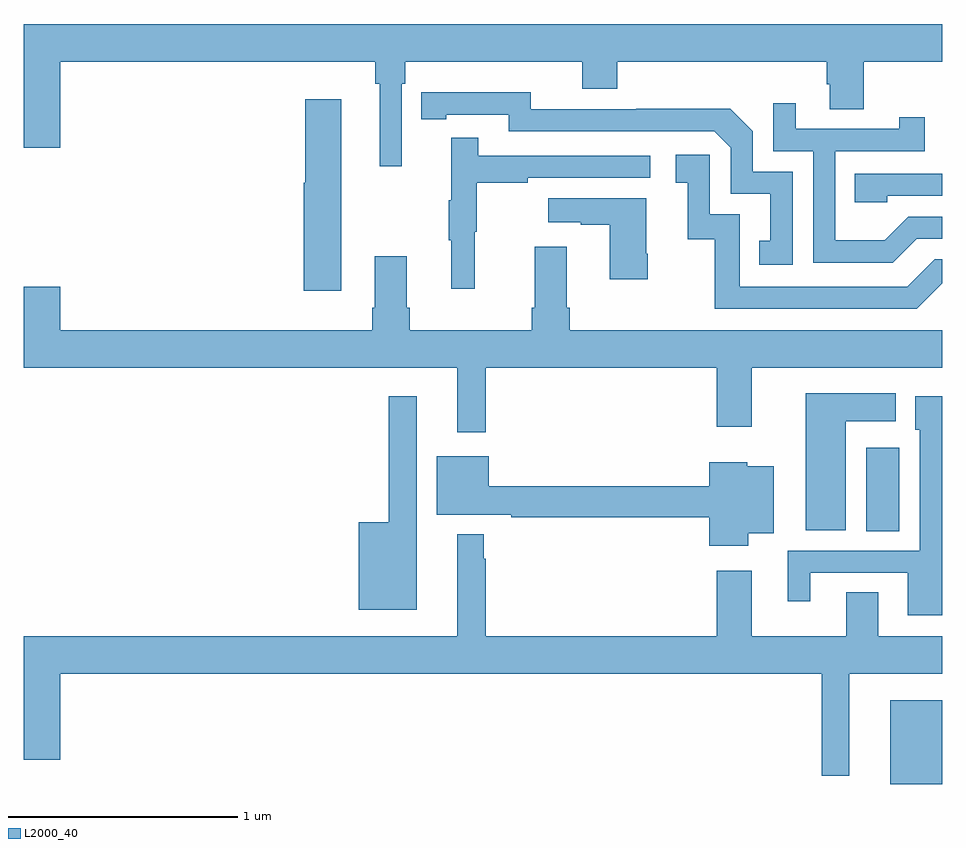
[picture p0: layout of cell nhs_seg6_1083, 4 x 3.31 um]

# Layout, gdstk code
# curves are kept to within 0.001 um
import gdstk
lib = gdstk.Library(unit=1e-6, precision=1e-09)
def R(c, l, rs):  # rectangles x0, y0, x1, y1
    for r in rs: c.add(gdstk.rectangle(r[:2], r[2:], *l))
def P(c, l, *ps):  # polygons
    for p in ps: c.add(gdstk.Polygon(p, *l))
L2000_40 = (2000, 40)

nhs_seg6_1083 = lib.new_cell('nhs_seg6_1083')
R(nhs_seg6_1083, L2000_40, [(180.773,969.5,181,969.865), (180.668,970.6,180.811,970.963)])
P(nhs_seg6_1083, L2000_40, [(177,972.27),(177.16,972.27),(177.16,972.644),(178.531,972.644),(178.531,972.548),(178.55,972.548),(178.55,972.189),(178.647,972.189),(178.647,972.548),(178.661,972.548),(178.661,972.644),(179.432,972.644),(179.432,972.527),(179.585,972.527),(179.585,972.644),(180.497,972.644),(180.497,972.546),(180.509,972.546),(180.509,972.436),(180.657,972.436),(180.657,972.644),(181,972.644),(181,972.808),(177,972.808)],
  [(180.348,972.165),(180.174,972.165),(180.174,972.342),(180.076,972.44),(179.668,972.44),(179.668,972.438),(179.208,972.438),(179.208,972.511),(178.732,972.51),(178.732,972.394),(178.84,972.394),(178.84,972.414),(179.112,972.414),(179.112,972.342),(180.006,972.342),(180.078,972.27),(180.078,972.069),(180.251,972.069),(180.251,971.865),(180.202,971.865),(180.202,971.76),(180.348,971.76)],
  [(178.384,972.481),(178.226,972.481),(178.226,972.117),(178.22,972.117),(178.22,971.646),(178.384,971.646)],
  [(180.889,971.874),(181,971.874),(181,971.97),(180.852,971.97),(180.748,971.866),(180.534,971.866),(180.534,972.255),(180.923,972.255),(180.923,972.403),(180.812,972.403),(180.812,972.351),(180.361,972.351),(180.361,972.463),(180.264,972.463),(180.264,972.255),(180.438,972.255),(180.438,971.769),(180.784,971.769)],
  [(178.964,971.904),(178.972,971.904),(178.972,972.118),(179.195,972.118),(179.195,972.138),(179.728,972.138),(179.728,972.234),(178.979,972.234),(178.979,972.313),(178.862,972.313),(178.862,972.041),(178.851,972.041),(178.851,971.867),(178.862,971.867),(178.862,971.655),(178.964,971.655)],
  [(181,971.68),(181,971.784),(180.966,971.784),(180.846,971.664),(180.117,971.664),(180.117,971.979),(179.988,971.979),(179.988,972.238),(179.838,972.238),(179.838,972.117),(179.891,972.117),(179.891,971.871),(180.009,971.871),(180.009,971.568),(180.888,971.568)],
  [(180.759,972.06),(181,972.06),(181,972.156),(180.619,972.156),(180.619,972.033),(180.759,972.033)],
  [(179.718,971.809),(179.71,971.809),(179.71,972.049),(179.283,972.049),(179.283,971.945),(179.426,971.945),(179.426,971.935),(179.552,971.935),(179.552,971.697),(179.718,971.697)],
  [(179.011,971.312),(180.017,971.312),(180.017,971.055),(180.169,971.055),(180.169,971.312),(181,971.312),(181,971.476),(179.378,971.476),(179.378,971.572),(179.365,971.572),(179.365,971.839),(179.225,971.839),(179.225,971.572),(179.213,971.572),(179.213,971.476),(178.682,971.476),(178.682,971.572),(178.669,971.572),(178.669,971.797),(178.529,971.797),(178.529,971.572),(178.517,971.572),(178.517,971.476),(177.16,971.476),(177.16,971.665),(177,971.665),(177,971.312),(178.889,971.312),(178.889,971.031),(179.011,971.031)],
  [(180.58,971.078),(180.796,971.078),(180.796,971.2),(180.404,971.2),(180.404,970.604),(180.58,970.604)],
  [(181,971.188),(180.881,971.188),(180.881,971.043),(180.9,971.043),(180.9,970.515),(180.326,970.515),(180.326,970.296),(180.424,970.296),(180.424,970.419),(180.848,970.419),(180.848,970.235),(181,970.235)],
  [(178.711,971.188),(178.59,971.188),(178.59,970.639),(178.46,970.639),(178.46,970.259),(178.711,970.259)],
  [(180.154,970.592),(180.265,970.592),(180.265,970.882),(180.15,970.882),(180.15,970.9),(179.984,970.9),(179.984,970.796),(179.026,970.796),(179.026,970.927),(178.799,970.927),(178.799,970.673),(179.122,970.673),(179.122,970.66),(179.984,970.66),(179.984,970.538),(180.154,970.538)],
  [(180.595,969.98),(181,969.98),(181,970.144),(180.721,970.144),(180.721,970.334),(180.581,970.334),(180.581,970.144),(180.169,970.144),(180.169,970.429),(180.017,970.429),(180.017,970.144),(179.011,970.144),(179.011,970.481),(179.004,970.481),(179.004,970.588),(178.889,970.588),(178.889,970.144),(177,970.144),(177,969.606),(177.16,969.606),(177.16,969.98),(180.474,969.98),(180.474,969.536),(180.595,969.536)])

lib.write_gds('nhs_seg6_1083.gds')
